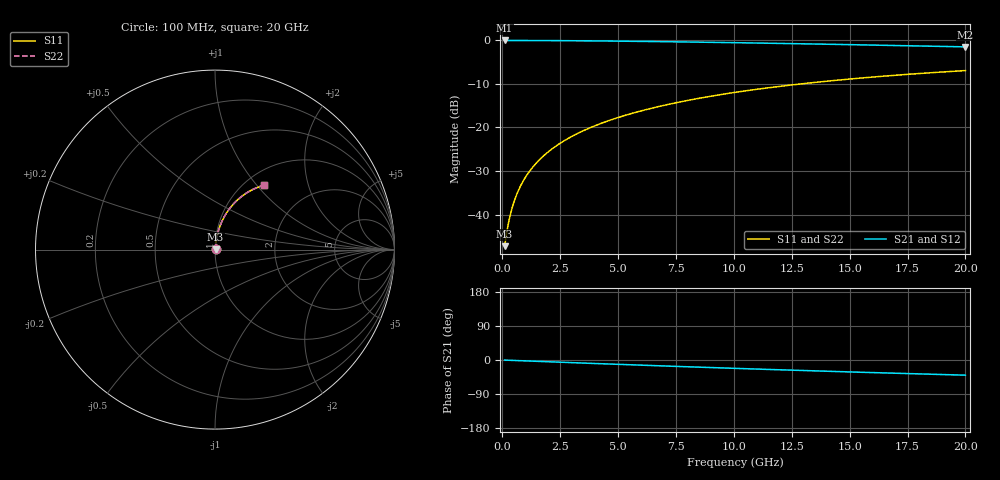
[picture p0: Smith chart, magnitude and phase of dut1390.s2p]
! Touchstone file exported from HFSS 2024.1.0
!  File:  C:/UserFiles/LocalFiles/RDL_TSV_Batchsim/temp_RDL_top_1390_1780367699.aedt
!  Generated:  10:37:16 AM Jun  2, 2026
!  Design:  RDL_top
!  Project:  temp_RDL_top_1390_1780367699
!  Setup:  Setup1
!  Solution:  Sweep
! Variables:
!  dtsv = 10.80580581um
!  hbump = 3um
!  htsv = 88.28um
!  ldown = 100um
!  lrdl = 524.16um
!  p = 40
!  p1 = 47.85um
!  rhole = 1um
!  t = 450um
!  tdown = 3.915915916um
!  trdl = 4.82um
!  wdown = 15.38538539um
!  wrdl = 11.56um
# GHz S MA R 50.000000
! Terminal data exported
! Port[1] = Box2_T1
! Port[2] = Box2_T2
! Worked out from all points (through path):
!   200 points, 100 MHz to 20 GHz, reference 50 ohm
!   highest |S21| = -0.03 dB at 100 MHz (marker M1); lowest = -1.5 dB at 20 GHz (marker M2)
!   group delay of S21, straight-line fit = 5.55 ps
!   lowest |S11| = -47.2 dB at 100 MHz (marker M3), VSWR 1.01, Z = 50.3 + j0.274 ohm
!   |S11| at or under -10 dB: start of sweep to 12.9 GHz
!   |S22| runs from -47.2 to -6.9 dB; largest |S21 - S12| = 1.5e-14
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0.1  0.004341 38.8  0.9966 -0.2  0.9966 -0.2  0.004341 38.8
! Gamma 0 0 0 0
! Port Impedance 50 0 50 0
0.2  0.00643 57.4  0.9965 -0.5  0.9965 -0.5  0.00643 57.4
0.3  0.008839 66.1  0.9964 -0.7  0.9964 -0.7  0.008839 66.1
0.4  0.01135 71.0  0.9963 -1.0  0.9963 -1.0  0.01135 71.0
0.5  0.01389 74.0  0.9962 -1.2  0.9962 -1.2  0.01389 74.0
0.6  0.01645 76.0  0.9961 -1.4  0.9961 -1.4  0.01645 76.0
0.8  0.02162 78.5  0.9958 -1.9  0.9958 -1.9  0.02162 78.5
1.1  0.02941 80.4  0.9953 -2.6  0.9953 -2.6  0.02941 80.4
1.5  0.03984 81.5  0.9945 -3.5  0.9945 -3.5  0.03984 81.5
1.8  0.04766 81.8  0.9938 -4.2  0.9938 -4.2  0.04766 81.8
2.1  0.05548 81.8  0.9929 -4.9  0.9929 -4.9  0.05548 81.8
2.7  0.07107 81.4  0.9908 -6.3  0.9908 -6.3  0.07108 81.4
3.5  0.09174 80.5  0.9874 -8.1  0.9874 -8.1  0.09174 80.5
4.2  0.1097 79.5  0.9838 -9.7  0.9838 -9.7  0.1097 79.5
5  0.13 78.3  0.9791 -11.5  0.9791 -11.5  0.13 78.3
5.9  0.1526 76.8  0.9733 -13.4  0.9733 -13.4  0.1526 76.8
6.8  0.1749 75.3  0.9668 -15.4  0.9668 -15.4  0.175 75.3
8.3  0.2114 72.7  0.9551 -18.5  0.9551 -18.5  0.2115 72.7
10.1  0.2539 69.6  0.9395 -22.2  0.9395 -22.2  0.2539 69.6
13.4  0.3268 63.8  0.9083 -28.6  0.9083 -28.6  0.3269 63.8
16.7  0.3923 58.1  0.8751 -34.5  0.8751 -34.5  0.3924 58.2
20  0.4497 52.8  0.8413 -40.0  0.8413 -40.0  0.4499 52.8
